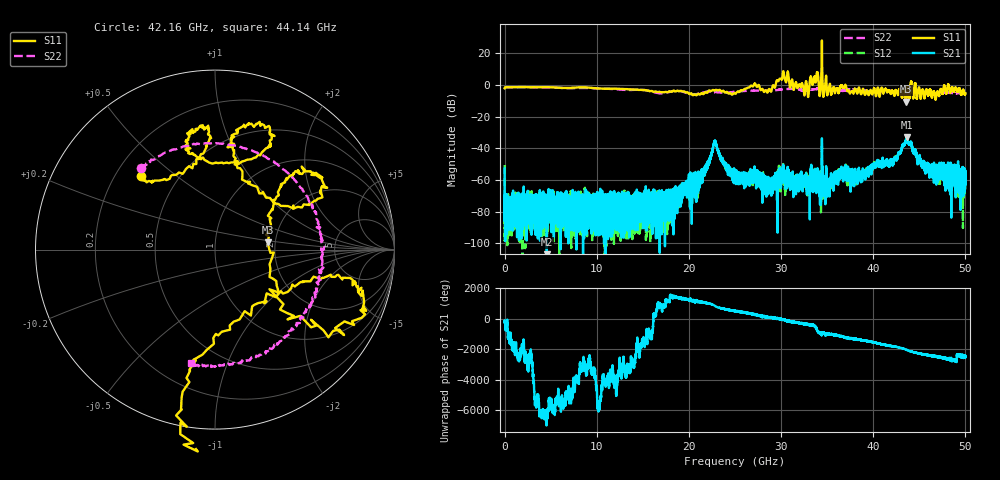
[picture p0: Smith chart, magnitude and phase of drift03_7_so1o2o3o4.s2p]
!Created with skrf (http://scikit-rf.org).
# Hz S RI R 50.0
!freq ReS11 ImS11 ReS21 ImS21 ReS12 ImS12 ReS22 ImS22
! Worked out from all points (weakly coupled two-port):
!   10001 points, 300 kHz to 50 GHz, reference 50 ohm
!   highest |S21| = -32.85 dB at 43.65 GHz (marker M1); lowest = -111.9 dB at 4.58 GHz (marker M2)
!   lowest |S11| = -10.6 dB at 43.53 GHz (marker M3), VSWR 1.84, Z = 90.9 + j8.27 ohm
!   |S11| at or under -10 dB: 43.5116 GHz to 43.537 GHz (25.4 MHz wide, 0.0584 % of centre); 43.54886 GHz to 43.55065 GHz (1.788 MHz wide, 0.00411 % of centre)
!   |S22| runs from -6.0 to -1.3 dB; largest |S21 - S12| = 0.011
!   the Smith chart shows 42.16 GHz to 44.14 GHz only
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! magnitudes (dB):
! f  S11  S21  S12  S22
! 300 kHz  -2.1  -52.7  -50.7  -2.1
! 255.3 MHz  -1.4  -75.7  -81.9  -1.4
! 4.58 GHz  -1.4  -111.9  -90.6  -1.6
! 8.335 GHz  -1.5  -88.2  -76.7  -1.9
! 16.67 GHz  -4.4  -69.7  -69.6  -5.2
! 20.85 GHz  -6.4  -60.9  -60.2  -5.7
! 22.82 GHz  -3.4  -35.5  -35.2  -4.5
! 25 GHz  -5.5  -58.6  -57.8  -4.3
! 27.02 GHz  -0.4  -57.3  -57.4  -3.5
! 28.74 GHz  -2.6  -63.5  -63.4  -3.5
! 30.14 GHz  4.3  -54.5  -55.9  -2.8
! 32.74 GHz  2.1  -57.4  -59.1  -3.3
! 33.34 GHz  2.5  -59.8  -58.5  -2.9
! 33.82 GHz  3.8  -58.8  -58.8  -2.6
! 34.84 GHz  3.5  -66.4  -66.6  -2.4
! 36.48 GHz  -0.7  -59.2  -54.5  -3.8
! 38.1 GHz  -2.9  -59.1  -56.9  -2.8
! 41.67 GHz  -3.5  -51.0  -50.0  -3.7
! 43.53 GHz  -10.6  -35.7  -35.3  -4.3
! 43.65 GHz  -2.0  -32.8  -33.2  -4.1
! 45.86 GHz  -4.0  -51.6  -52.8  -5.4
! 50 GHz  -5.3  -58.1  -61.3  -5.0
